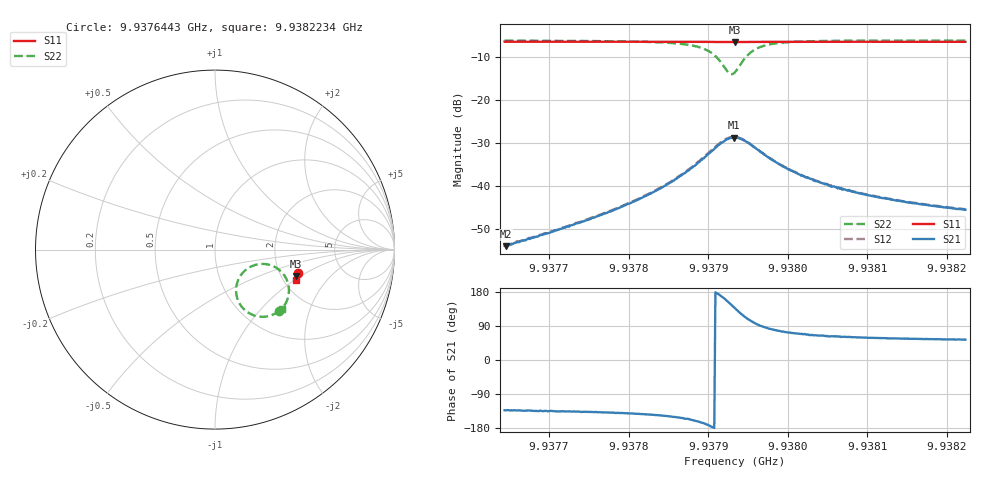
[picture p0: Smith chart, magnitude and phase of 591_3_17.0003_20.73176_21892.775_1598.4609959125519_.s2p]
#  HZ  S  RI  R  50.00
! Rohde & Schwarz Vector Network Analyzer
! Rohde-Schwarz,ZNB20-2Port,1311601062101988,3.16
! Created: UTC 3/20/2024, 11:18:38 PM
! freq[Hz]  re:S11  im:S11  re:S21  im:S21  re:S12  im:S12  re:S22  im:S22
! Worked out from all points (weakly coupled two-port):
!   401 points, 9.9376443 GHz to 9.9382234 GHz, reference 50 ohm
!   highest |S21| = -28.68 dB at 9.9379324 GHz (marker M1); lowest = -54.0 dB at 9.9376457 GHz (marker M2)
!   lowest |S11| = -6.4 dB at 9.9379338 GHz (marker M3), VSWR 2.82, Z = 121 - j45.9 ohm
!   |S11| at or under -10 dB: nowhere
!   |S22| runs from -13.9 to -6.1 dB; largest |S21 - S12| = 0.0017
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9.93764429e9  0.4641 -0.1309  -0.00137 -0.00148  -0.00139 -0.00151  0.358 -0.3419
9.93764574e9  0.4639 -0.131  -0.00137 -0.00146  -0.00143 -0.0015  0.3577 -0.3419
9.93774129e9  0.4615 -0.1375  -0.0028 -0.00262  -0.00284 -0.00264  0.3403 -0.3538
9.93779196e9  0.4603 -0.1411  -0.00442 -0.00374  -0.00454 -0.00368  0.3232 -0.3626
9.93783828e9  0.4587 -0.1441  -0.00763 -0.0052  -0.00788 -0.00515  0.2929 -0.3718
9.93786724e9  0.4574 -0.1463  -0.012 -0.00619  -0.0123 -0.00589  0.2554 -0.3739
9.93789474e9  0.4558 -0.1482  -0.0206 -0.00466  -0.0213 -0.00445  0.1857 -0.3514
9.93790777e9  0.4546 -0.1486  -0.0271 -0.000199  -0.028 0.000431  0.1398 -0.3058
9.9379179e9  0.4536 -0.1485  -0.0314 0.00776  -0.0322 0.00886  0.1175 -0.2354
9.93792659e9  0.453 -0.1478  -0.0314 0.0175  -0.0315 0.019  0.1352 -0.1568
9.93793238e9  0.4533 -0.1474  -0.0279 0.024  -0.0277 0.0256  0.1735 -0.1114
9.93793383e9  0.4532 -0.1472  -0.0267 0.0253  -0.0263 0.0269  0.1854 -0.1028
9.93794107e9  0.4538 -0.1469  -0.0191 0.03  -0.0183 0.031  0.2519 -0.0802
9.93794975e9  0.4548 -0.1472  -0.0102 0.0307  -0.00921 0.0311  0.3226 -0.0917
9.93795699e9  0.4553 -0.1478  -0.00461 0.0285  -0.00386 0.0288  0.3624 -0.1167
9.93796568e9  0.4556 -0.1486  -0.000136 0.0251  0.000461 0.0253  0.3902 -0.15
9.93797871e9  0.4558 -0.15  0.00301 0.0204  0.00357 0.0207  0.4078 -0.1915
9.93799753e9  0.4557 -0.1518  0.00464 0.0158  0.00497 0.0158  0.4124 -0.2324
9.93803082e9  0.455 -0.1544  0.00483 0.011  0.00523 0.0108  0.4056 -0.2716
9.93807136e9  0.454 -0.1575  0.00444 0.00803  0.00461 0.00798  0.3957 -0.2956
9.93812782e9  0.4523 -0.1613  0.00383 0.00593  0.00397 0.00594  0.3851 -0.3135
9.93822336e9  0.4498 -0.1675  0.00315 0.00427  0.00327 0.00428  0.3726 -0.3297
